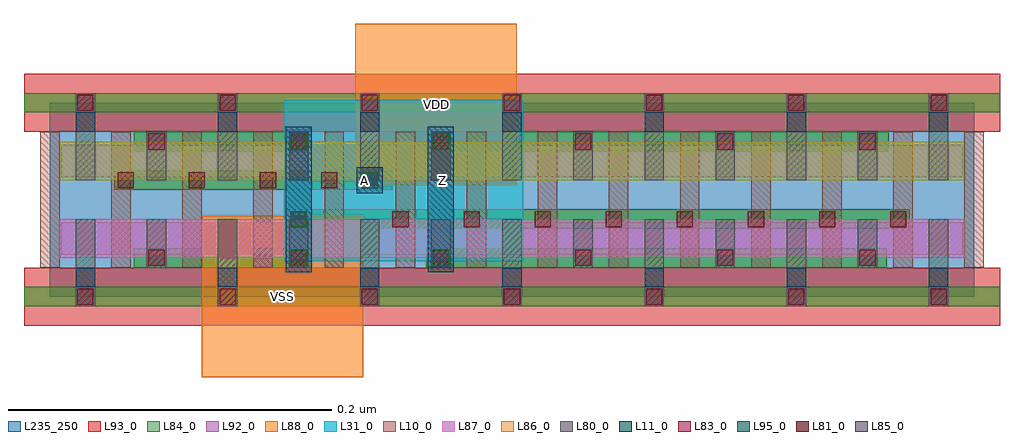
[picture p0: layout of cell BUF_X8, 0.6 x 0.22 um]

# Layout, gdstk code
import gdstk
lib = gdstk.Library(unit=1e-6, precision=1e-09)
def R(c, l, rs):  # rectangles x0, y0, x1, y1
    for r in rs: c.add(gdstk.rectangle(r[:2], r[2:], *l))
def A(c, l, x, y, w, h, nx, ny, dx, dy):  # array of equal rectangles
    R(c, l, [(x+i*dx, y+j*dy, x+i*dx+w, y+j*dy+h) for i in range(nx) for j in range(ny)])
L10_0 = (10, 0)
L11_0 = (11, 0)
L31_0 = (31, 0)
L80_0 = (80, 0)
L81_0 = (81, 0)
L83_0 = (83, 0)
L84_0 = (84, 0)
L85_0 = (85, 0)
L86_0 = (86, 0)
L87_0 = (87, 0)
L88_0 = (88, 0)
L92_0 = (92, 0)
L93_0 = (93, 0)
L95_0 = (95, 0)
L235_250 = (235, 250)

buf_x8 = lib.new_cell('BUF_X8')
A(buf_x8, L10_0, -0.006, 0.018, 0.012, 0.084, 14, 1, 0.044, 0)
R(buf_x8, L11_0, [(0.146,0.015,0.162,0.105), (0.234,0.015,0.25,0.105), (0.19,0.064,0.206,0.08)])
R(buf_x8, L31_0, [(0.145,0.022,0.245,0.122), (0.193,0.022,0.293,0.122)])
A(buf_x8, L80_0, 0.016, -0.006, 0.012, 0.054, 7, 2, 0.088, 0.078)
A(buf_x8, L80_0, 0.06, 0.018, 0.012, 0.03, 6, 2, 0.088, 0.054)
A(buf_x8, L81_0, 0.212, 0.043, 0.01, 0.01, 8, 1, 0.044, 0)
A(buf_x8, L81_0, 0.042, 0.067, 0.01, 0.01, 3, 1, 0.044, 0)
R(buf_x8, L81_0, [(0.168,0.067,0.178,0.077)])
A(buf_x8, L83_0, 0.017, -0.005, 0.01, 0.01, 7, 2, 0.088, 0.12)
A(buf_x8, L83_0, 0.061, 0.019, 0.01, 0.01, 6, 2, 0.088, 0.072)
R(buf_x8, L84_0, [(-0.016,-0.006,0.588,0.006), (0.052,0.018,0.162,0.03), (0.233,0.018,0.518,0.03), (0.145,0.042,0.532,0.054), (0.04,0.066,0.212,0.078), (0.052,0.09,0.162,0.102), (0.233,0.09,0.519,0.102), (-0.016,0.114,0.588,0.126)])
R(buf_x8, L85_0, [(0.149,0.019,0.159,0.029), (0.237,0.019,0.247,0.029), (0.149,0.043,0.159,0.053), (0.193,0.067,0.203,0.077), (0.149,0.091,0.159,0.101), (0.237,0.091,0.247,0.101)])
R(buf_x8, L86_0, [(0.006,0.072,0.566,0.096)])
R(buf_x8, L87_0, [(0.006,0.024,0.566,0.048)])
R(buf_x8, L88_0, [(0.094,-0.05,0.194,0.05), (0.189,0.069,0.289,0.169)])
R(buf_x8, L92_0, [(0.007,0.026,0.565,0.046), (0.007,0.074,0.565,0.094)])
R(buf_x8, L93_0, [(-0.016,-0.018,0.588,0.018), (-0.016,0.102,0.588,0.138)])
A(buf_x8, L95_0, 0.016, 0.006, 0.012, 0.012, 7, 2, 0.088, 0.096)
R(buf_x8, L235_250, [(0,0,0.572,0.12)])
buf_x8.add(gdstk.Label('VSS', (0.144,0), layer=88, texttype=0))
buf_x8.add(gdstk.Label('VDD', (0.239,0.119), layer=88, texttype=0))
buf_x8.add(gdstk.Label('A', (0.195,0.072), layer=31, texttype=0))
buf_x8.add(gdstk.Label('Z', (0.243,0.072), layer=31, texttype=0))

lib.write_gds('BUF_X8.gds')
